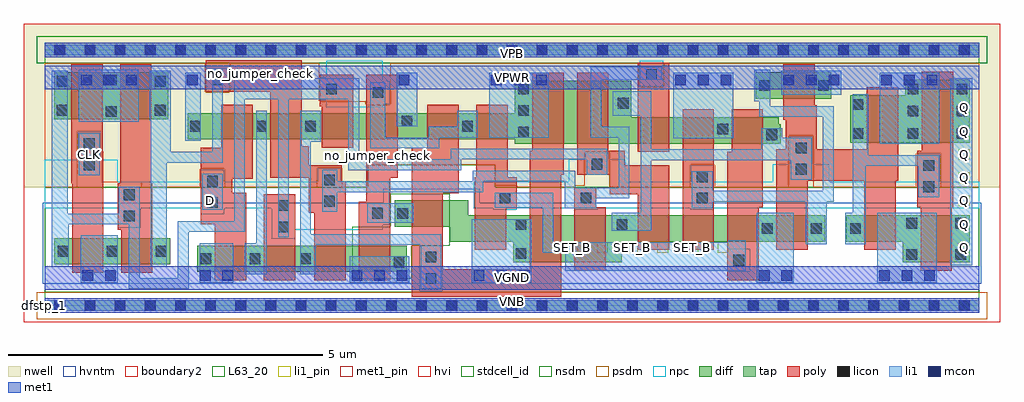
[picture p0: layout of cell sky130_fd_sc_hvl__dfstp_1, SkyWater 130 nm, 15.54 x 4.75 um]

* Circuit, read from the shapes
.subckt sky130_fd_sc_hvl__dfstp_1 CLK D Q SET_B VGND VNB VPB VPWR
XM1 VGND CLK n1 VNB sky130_fd_pr__nfet_g5v0d10v5 w=0.42 l=0.5
XM2 n2 n1 VGND VNB sky130_fd_pr__nfet_g5v0d10v5 w=0.42 l=0.5
XM3 n3 D VGND VNB sky130_fd_pr__nfet_g5v0d10v5 w=0.42 l=0.5
XM4 n4 n1 n3 VNB sky130_fd_pr__nfet_g5v0d10v5 w=0.42 l=0.5
XM5 n5 n2 n4 VNB sky130_fd_pr__nfet_g5v0d10v5 w=0.42 l=0.5
XM6 VGND n6 n5 VNB sky130_fd_pr__nfet_g5v0d10v5 w=0.42 l=0.5
XM7 n7 n4 n6 VNB sky130_fd_pr__nfet_g5v0d10v5 w=0.42 l=0.5
XM8 VGND SET_B n7 VNB sky130_fd_pr__nfet_g5v0d10v5 w=0.42 l=0.5
XM9 n8 n4 VGND VNB sky130_fd_pr__nfet_g5v0d10v5 w=0.75 l=0.5
XM10 n9 n2 n8 VNB sky130_fd_pr__nfet_g5v0d10v5 w=0.75 l=0.5
XM11 n10 n1 n9 VNB sky130_fd_pr__nfet_g5v0d10v5 w=0.42 l=0.5
XM12 n11 n12 n10 VNB sky130_fd_pr__nfet_g5v0d10v5 w=0.42 l=0.5
XM13 VGND SET_B n11 VNB sky130_fd_pr__nfet_g5v0d10v5 w=0.42 l=0.5
XM14 n12 n9 VGND VNB sky130_fd_pr__nfet_g5v0d10v5 w=0.42 l=0.5
XM15 VGND n9 n13 VNB sky130_fd_pr__nfet_g5v0d10v5 w=0.42 l=0.5
XM16 Q n13 VGND VNB sky130_fd_pr__nfet_g5v0d10v5 w=0.75 l=0.5
XM17 VPWR CLK n1 VPB sky130_fd_pr__pfet_g5v0d10v5 w=0.75 l=0.5
XM18 n2 n1 VPWR VPB sky130_fd_pr__pfet_g5v0d10v5 w=0.75 l=0.5
XM19 n3 D VPWR VPB sky130_fd_pr__pfet_g5v0d10v5 w=0.42 l=0.5
XM20 n4 n2 n3 VPB sky130_fd_pr__pfet_g5v0d10v5 w=0.42 l=0.5
XM21 n14 n1 n4 VPB sky130_fd_pr__pfet_g5v0d10v5 w=0.42 l=0.5
XM22 VPWR n6 n14 VPB sky130_fd_pr__pfet_g5v0d10v5 w=0.42 l=0.5
XM23 n6 n4 VPWR VPB sky130_fd_pr__pfet_g5v0d10v5 w=0.42 l=0.5
XM24 VPWR SET_B n6 VPB sky130_fd_pr__pfet_g5v0d10v5 w=0.42 l=0.5
XM25 n15 n4 VPWR VPB sky130_fd_pr__pfet_g5v0d10v5 w=1 l=0.5
XM26 n9 n1 n15 VPB sky130_fd_pr__pfet_g5v0d10v5 w=1 l=0.5
XM27 n16 n2 n9 VPB sky130_fd_pr__pfet_g5v0d10v5 w=0.42 l=0.5
XM28 VPWR n12 n16 VPB sky130_fd_pr__pfet_g5v0d10v5 w=0.42 l=0.5
XM29 n9 SET_B VPWR VPB sky130_fd_pr__pfet_g5v0d10v5 w=0.42 l=0.5
XM30 VPWR n9 n12 VPB sky130_fd_pr__pfet_g5v0d10v5 w=0.42 l=0.5
XM31 VPWR n9 n13 VPB sky130_fd_pr__pfet_g5v0d10v5 w=0.75 l=0.5
XM32 Q n13 VPWR VPB sky130_fd_pr__pfet_g5v0d10v5 w=1 l=0.5
.ends

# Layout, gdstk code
import gdstk
lib = gdstk.Library(unit=1e-6, precision=1e-09)
def R(c, l, rs):  # rectangles x0, y0, x1, y1
    for r in rs: c.add(gdstk.rectangle(r[:2], r[2:], *l))
def A(c, l, x, y, w, h, nx, ny, dx, dy):  # array of equal rectangles
    R(c, l, [(x+i*dx, y+j*dy, x+i*dx+w, y+j*dy+h) for i in range(nx) for j in range(ny)])
def P(c, l, *ps):  # polygons
    for p in ps: c.add(gdstk.Polygon(p, *l))
L63_20 = (63, 20)
nwell = (64, 20)
diff = (65, 20)
tap = (65, 44)
poly = (66, 20)
licon = (66, 44)
li1_pin = (67, 16)
li1 = (67, 20)
mcon = (67, 44)
met1_pin = (68, 16)
met1 = (68, 20)
hvi = (75, 20)
stdcell_id = (81, 4)
nsdm = (93, 44)
psdm = (94, 20)
npc = (95, 20)
hvntm = (125, 20)
boundary2 = (236, 0)

sky130_fd_sc_hvl__dfstp_ = lib.new_cell('sky130_fd_sc_hvl__dfstp_1')
P(sky130_fd_sc_hvl__dfstp_, L63_20, [(6.445,1.78),(5.5,1.78),(5.5,1.255),(4.895,1.255),(4.895,0.43),(5.84,0.43),(5.84,0.955),(6.445,0.955)])
P(sky130_fd_sc_hvl__dfstp_, nwell, [(15.21,4.485),(-0.33,4.485),(-0.33,1.885),(5.145,1.885),(5.145,2.245),(7.17,2.245),(7.17,1.885),(15.21,1.885)])
R(sky130_fd_sc_hvl__dfstp_, diff, [(2.425,0.535,5.765,0.955), (0.15,0.655,2,1.075), (0.155,2.965,1.965,3.715), (11.32,3.295,12.525,3.715)])
P(sky130_fd_sc_hvl__dfstp_, diff, [(11.72,2.885),(11.685,2.885),(11.685,2.995),(9.335,2.995),(9.335,3.575),(7.48,3.575),(7.48,3.065),(2.275,3.065),(2.275,2.645),(7.48,2.645),(7.48,2.575),(11.72,2.575)],
  [(12.43,1.435),(6.74,1.435),(6.74,1.675),(5.575,1.675),(5.575,1.255),(6.45,1.255),(6.45,1.015),(7.46,1.015),(7.46,0.685),(9.185,0.685),(9.185,1.015),(12.43,1.015)],
  [(14.73,3.595),(13.7,3.595),(13.7,3.345),(12.825,3.345),(12.825,2.595),(14.73,2.595)],
  [(14.73,1.435),(12.765,1.435),(12.765,1.015),(13.66,1.015),(13.66,0.685),(14.73,0.685)])
R(sky130_fd_sc_hvl__dfstp_, tap, [(0,-0.085,14.88,0.085), (0,3.985,14.88,4.155)])
R(sky130_fd_sc_hvl__dfstp_, poly, [(3.49,0.405,3.99,1.775), (10.155,0.885,10.655,3.125), (9.445,2.445,9.945,3.865)])
P(sky130_fd_sc_hvl__dfstp_, poly, [(0.935,2.45),(0.92,2.45),(0.92,3.845),(0.42,3.845),(0.42,1.95),(0.435,1.95),(0.435,0.525),(0.935,0.525)],
  [(1.715,1.95),(1.7,1.95),(1.7,3.845),(1.2,3.845),(1.2,1.95),(1.16,1.95),(1.16,1.205),(1.215,1.205),(1.215,0.525),(1.715,0.525)],
  [(3.31,3.195),(2.81,3.195),(2.81,2.515),(2.485,2.515),(2.485,1.295),(2.71,1.295),(2.71,0.405),(3.21,0.405),(3.21,1.795),(2.985,1.795),(2.985,2.015),(3.31,2.015)],
  [(4.79,1.975),(4.73,1.975),(4.73,2.235),(4.2,2.235),(4.2,2.535),(4.09,2.535),(4.09,3.905),(2.565,3.905),(2.565,3.405),(3.59,3.405),(3.59,2.035),(4.2,2.035),(4.2,1.475),(4.29,1.475),(4.29,0.405),(4.79,0.405)],
  [(4.91,3.675),(4.38,3.675),(4.38,3.175),(4.41,3.175),(4.41,2.515),(4.91,2.515)],
  [(5.62,3.675),(5.12,3.675),(5.12,1.655),(5,1.655),(5,0.405),(5.5,0.405),(5.5,2.035),(5.62,2.035)],
  [(7.515,2.045),(7.37,2.045),(7.37,3.195),(6.87,3.195),(6.87,2.045),(6.85,2.045),(6.85,0.885),(7.35,0.885),(7.35,1.545),(7.515,1.545)],
  [(8.265,3.705),(7.765,3.705),(7.765,2.465),(7.725,2.465),(7.725,0.575),(6.34,0.575),(6.34,1.785),(6.59,1.785),(6.59,3.195),(6.09,3.195),(6.09,2.515),(5.84,2.515),(5.84,0.14),(8.225,0.14),(8.225,2.085),(8.265,2.085)],
  [(8.935,1.565),(8.785,1.565),(8.785,1.875),(8.435,1.875),(8.435,0.555),(8.935,0.555)],
  [(9.945,2.235),(9.235,2.235),(9.235,2.465),(8.975,2.465),(8.975,3.705),(8.475,3.705),(8.475,2.085),(8.995,2.085),(8.995,1.775),(9.445,1.775),(9.445,0.885),(9.945,0.885)],
  [(11.435,3.125),(10.935,3.125),(10.935,2.445),(10.865,2.445),(10.865,0.405),(11.365,0.405),(11.365,1.565),(11.435,1.565)],
  [(13.59,3.475),(13.09,3.475),(13.09,2.485),(12.295,2.485),(12.295,3.185),(12.26,3.185),(12.26,3.845),(11.76,3.845),(11.76,2.96),(11.795,2.96),(11.795,2.485),(11.645,2.485),(11.645,0.885),(12.145,0.885),(12.145,1.985),(13.05,1.985),(13.05,0.885),(13.55,0.885),(13.55,1.985),(13.59,1.985)],
  [(14.465,3.725),(13.965,3.725),(13.965,2.465),(13.89,2.465),(13.89,1.565),(13.945,1.565),(13.945,0.555),(14.445,0.555),(14.445,1.565),(14.465,1.565)])
A(sky130_fd_sc_hvl__dfstp_, licon, 0.155, -0.085, 0.17, 0.17, 31, 2, 0.48, 4.07)
A(sky130_fd_sc_hvl__dfstp_, licon, 0.21, 0.78, 0.17, 0.17, 3, 1, 0.78, 0)
A(sky130_fd_sc_hvl__dfstp_, licon, 13.74, 2.655, 0.17, 0.17, 1, 3, 0, 0.355)
A(sky130_fd_sc_hvl__dfstp_, licon, 14.52, 2.655, 0.17, 0.17, 1, 3, 0, 0.355)
A(sky130_fd_sc_hvl__dfstp_, licon, 7.54, 2.675, 0.17, 0.17, 1, 3, 0, 0.345)
R(sky130_fd_sc_hvl__dfstp_, licon, [(6.065,0.345,6.235,0.515), (5.555,0.605,5.725,0.775), (10.965,0.635,11.135,0.805), (2.485,0.66,2.655,0.83), (3.265,0.66,3.435,0.83), (4.065,0.66,4.235,0.83), (6.065,0.685,6.235,0.855), (13.72,0.725,13.89,0.895), (14.5,0.725,14.67,0.895), (7.5,0.745,7.67,0.915), (11.42,1.14,11.59,1.31), (12.2,1.14,12.37,1.31), (12.825,1.14,12.995,1.31), (3.715,1.165,3.885,1.335), (7.5,1.205,7.67,1.375), (9.105,1.205,9.275,1.375), (13.72,1.225,13.89,1.395), (14.5,1.225,14.67,1.395), (1.26,1.34,1.43,1.51), (5.615,1.38,5.785,1.55), (5.215,1.385,5.385,1.555), (3.715,1.505,3.885,1.675), (2.585,1.555,2.755,1.725), (4.45,1.575,4.62,1.745), (7.245,1.625,7.415,1.795), (8.535,1.625,8.705,1.795), (10.385,1.625,10.555,1.795), (1.26,1.68,1.43,1.85), (13.99,1.805,14.16,1.975), (2.585,1.895,2.755,2.065), (4.45,1.915,4.62,2.085), (10.385,1.965,10.555,2.135), (11.96,2.085,12.13,2.255), (13.99,2.145,14.16,2.315), (0.625,2.155,0.795,2.325), (8.71,2.165,8.88,2.335), (11.96,2.425,12.13,2.595), (0.625,2.495,0.795,2.665), (11.49,2.635,11.66,2.805), (12.865,2.655,13.035,2.825), (10.71,2.725,10.88,2.895), (2.315,2.77,2.485,2.94), (3.365,2.77,3.535,2.94), (4.145,2.77,4.315,2.94), (6.645,2.77,6.815,2.94), (5.685,2.855,5.855,3.025), (0.975,3.005,1.145,3.175), (0.195,3.025,0.365,3.195), (1.755,3.025,1.925,3.195), (12.865,3.115,13.035,3.285), (9.125,3.135,9.295,3.305), (5.22,3.305,5.39,3.475), (4.48,3.365,4.65,3.535), (11.38,3.42,11.55,3.59), (12.315,3.42,12.485,3.59), (0.195,3.485,0.365,3.655), (1.755,3.485,1.925,3.655), (0.975,3.505,1.145,3.675), (2.665,3.505,2.835,3.675), (9.575,3.595,9.745,3.765)])
A(sky130_fd_sc_hvl__dfstp_, li1_pin, 8.315, 0.84, 0.17, 0.17, 6, 1, 0.48, 0)
A(sky130_fd_sc_hvl__dfstp_, li1_pin, 14.555, 0.84, 0.17, 0.17, 1, 7, 0, 0.37)
R(sky130_fd_sc_hvl__dfstp_, li1_pin, [(2.555,1.58,2.725,1.75), (0.635,2.32,0.805,2.49)])
R(sky130_fd_sc_hvl__dfstp_, li1, [(0,-0.085,14.88,0.085), (0.57,0.365,1.16,1.115), (2.47,0.365,3.005,0.995), (4.855,0.365,5.805,0.785), (6.8,0.365,7.75,1.375), (11.34,0.365,11.93,1.475), (13.255,0.365,14.205,1.475), (14.42,0.645,14.77,3.615), (5.135,1.315,5.865,1.625), (2.505,1.525,2.835,2.095), (0.545,2.075,0.875,2.745), (13.295,2.575,14.24,3.705), (2.235,2.625,2.485,3.705), (10.01,2.665,10.96,3.705), (7.075,2.675,8.025,3.705), (5.605,2.855,5.935,3.705), (0.545,2.925,1.495,3.755), (11.73,3.355,12.68,3.735), (0,3.985,14.88,4.155)])
P(sky130_fd_sc_hvl__dfstp_, li1, [(11.16,1.04),(10.885,1.04),(10.885,1.01),(8.1,1.01),(8.1,1.795),(7.165,1.795),(7.165,1.555),(7.93,1.555),(7.93,0.84),(8.285,0.84),(8.285,0.555),(11.16,0.555)],
  [(12.21,2.675),(11.74,2.675),(11.74,2.825),(11.41,2.825),(11.41,2.485),(9.66,2.485),(9.66,3.415),(9.045,3.415),(9.045,3.025),(9.49,3.025),(9.49,1.475),(9.025,1.475),(9.025,1.19),(9.66,1.19),(9.66,2.315),(11.88,2.315),(11.88,2.005),(12.21,2.005)],
  [(12.56,3.175),(11.55,3.175),(11.55,3.755),(11.3,3.755),(11.3,3.255),(11.38,3.255),(11.38,3.005),(12.39,3.005),(12.39,1.825),(10.635,1.825),(10.635,2.135),(10.305,2.135),(10.305,1.545),(10.635,1.545),(10.635,1.655),(12.12,1.655),(12.12,0.975),(12.45,0.975),(12.45,1.655),(12.56,1.655)],
  [(14.24,2.395),(13.115,2.395),(13.115,3.365),(12.865,3.365),(12.865,1.475),(12.745,1.475),(12.745,0.975),(13.075,0.975),(13.075,2.225),(13.91,2.225),(13.91,1.725),(14.24,1.725)],
  [(2.835,3.755),(2.665,3.755),(2.665,2.445),(2.005,2.445),(2.005,3.735),(1.675,3.735),(1.675,2.945),(1.69,2.945),(1.69,0.615),(1.94,0.615),(1.94,2.275),(2.835,2.275)],
  [(3.535,3.105),(3.365,3.105),(3.365,0.995),(3.185,0.995),(3.185,0.495),(3.535,0.495)],
  [(6.315,1.135),(4.235,1.135),(4.235,2.605),(4.395,2.605),(4.395,3.105),(4.065,3.105),(4.065,0.495),(4.315,0.495),(4.315,0.965),(5.985,0.965),(5.985,0.265),(6.315,0.265)],
  [(6.895,3.105),(6.565,3.105),(6.565,2.845),(6.115,2.845),(6.115,2.675),(5.425,2.675),(5.425,3.555),(5.185,3.555),(5.185,2.505),(6.285,2.505),(6.285,2.675),(6.895,2.675)],
  [(8.96,2.495),(6.465,2.495),(6.465,2.325),(5.005,2.325),(5.005,3.615),(3.015,3.615),(3.015,1.345),(2.12,1.345),(2.12,0.435),(1.51,0.435),(1.51,1.895),(1.18,1.895),(1.18,1.465),(0.365,1.465),(0.365,3.735),(0.115,3.735),(0.115,0.615),(0.38,0.615),(0.38,1.295),(1.34,1.295),(1.34,0.265),(2.29,0.265),(2.29,1.175),(3.185,1.175),(3.185,3.285),(3.715,3.285),(3.715,1.085),(3.885,1.085),(3.885,3.285),(4.835,3.285),(4.835,2.155),(6.635,2.155),(6.635,2.325),(8.63,2.325),(8.63,2.085),(8.96,2.085)],
  [(9.825,3.805),(8.695,3.805),(8.695,2.675),(9.14,2.675),(9.14,1.875),(8.45,1.875),(8.45,2.145),(6.815,2.145),(6.815,1.975),(4.655,1.975),(4.655,2.165),(4.415,2.165),(4.415,1.495),(4.655,1.495),(4.655,1.805),(6.985,1.805),(6.985,1.975),(8.28,1.975),(8.28,1.545),(8.785,1.545),(8.785,1.705),(9.31,1.705),(9.31,2.845),(8.865,2.845),(8.865,3.595),(9.825,3.595)])
A(sky130_fd_sc_hvl__dfstp_, mcon, 4.885, 0.395, 0.17, 0.17, 3, 1, 0.36, 0)
A(sky130_fd_sc_hvl__dfstp_, mcon, 6.83, 0.395, 0.17, 0.17, 3, 1, 0.36, 0)
A(sky130_fd_sc_hvl__dfstp_, mcon, 13.285, 0.395, 0.17, 0.17, 3, 1, 0.36, 0)
A(sky130_fd_sc_hvl__dfstp_, mcon, 0.575, 3.505, 0.17, 0.17, 3, 1, 0.36, 0)
A(sky130_fd_sc_hvl__dfstp_, mcon, 7.105, 3.505, 0.17, 0.17, 3, 1, 0.36, 0)
A(sky130_fd_sc_hvl__dfstp_, mcon, 10.04, 3.505, 0.17, 0.17, 3, 1, 0.36, 0)
A(sky130_fd_sc_hvl__dfstp_, mcon, 11.76, 3.505, 0.17, 0.17, 3, 1, 0.36, 0)
A(sky130_fd_sc_hvl__dfstp_, mcon, 13.32, 3.505, 0.17, 0.17, 3, 1, 0.36, 0)
R(sky130_fd_sc_hvl__dfstp_, mcon, [(0.155,-0.085,0.325,0.085), (0.155,-0.085,0.325,0.085), (0.635,-0.085,0.805,0.085), (0.635,-0.085,0.805,0.085), (1.115,-0.085,1.285,0.085), (1.115,-0.085,1.285,0.085), (1.595,-0.085,1.765,0.085), (1.595,-0.085,1.765,0.085), (2.075,-0.085,2.245,0.085), (2.075,-0.085,2.245,0.085), (2.555,-0.085,2.725,0.085), (2.555,-0.085,2.725,0.085), (3.035,-0.085,3.205,0.085), (3.035,-0.085,3.205,0.085), (3.515,-0.085,3.685,0.085), (3.515,-0.085,3.685,0.085), (3.995,-0.085,4.165,0.085), (3.995,-0.085,4.165,0.085), (4.475,-0.085,4.645,0.085), (4.475,-0.085,4.645,0.085), (4.955,-0.085,5.125,0.085), (4.955,-0.085,5.125,0.085), (5.435,-0.085,5.605,0.085), (5.435,-0.085,5.605,0.085), (5.915,-0.085,6.085,0.085), (5.915,-0.085,6.085,0.085), (6.395,-0.085,6.565,0.085), (6.395,-0.085,6.565,0.085), (6.875,-0.085,7.045,0.085), (6.875,-0.085,7.045,0.085), (7.355,-0.085,7.525,0.085), (7.355,-0.085,7.525,0.085), (7.835,-0.085,8.005,0.085), (7.835,-0.085,8.005,0.085), (8.315,-0.085,8.485,0.085), (8.315,-0.085,8.485,0.085), (8.795,-0.085,8.965,0.085), (8.795,-0.085,8.965,0.085), (9.275,-0.085,9.445,0.085), (9.275,-0.085,9.445,0.085), (9.755,-0.085,9.925,0.085), (9.755,-0.085,9.925,0.085), (10.235,-0.085,10.405,0.085), (10.235,-0.085,10.405,0.085), (10.715,-0.085,10.885,0.085), (10.715,-0.085,10.885,0.085), (11.195,-0.085,11.365,0.085), (11.195,-0.085,11.365,0.085), (11.675,-0.085,11.845,0.085), (11.675,-0.085,11.845,0.085), (12.155,-0.085,12.325,0.085), (12.155,-0.085,12.325,0.085), (12.635,-0.085,12.805,0.085), (12.635,-0.085,12.805,0.085), (13.115,-0.085,13.285,0.085), (13.115,-0.085,13.285,0.085), (13.595,-0.085,13.765,0.085), (13.595,-0.085,13.765,0.085), (14.075,-0.085,14.245,0.085), (14.075,-0.085,14.245,0.085), (14.555,-0.085,14.725,0.085), (14.555,-0.085,14.725,0.085), (0.6,0.395,0.77,0.565), (0.96,0.395,1.13,0.565), (2.47,0.395,2.64,0.565), (2.83,0.395,3,0.565), (11.37,0.395,11.54,0.565), (11.73,0.395,11.9,0.565), (2.265,3.505,2.435,3.675), (5.635,3.505,5.805,3.675), (0.155,3.985,0.325,4.155), (0.155,3.985,0.325,4.155), (0.635,3.985,0.805,4.155), (0.635,3.985,0.805,4.155), (1.115,3.985,1.285,4.155), (1.115,3.985,1.285,4.155), (1.595,3.985,1.765,4.155), (1.595,3.985,1.765,4.155), (2.075,3.985,2.245,4.155), (2.075,3.985,2.245,4.155), (2.555,3.985,2.725,4.155), (2.555,3.985,2.725,4.155), (3.035,3.985,3.205,4.155), (3.035,3.985,3.205,4.155), (3.515,3.985,3.685,4.155), (3.515,3.985,3.685,4.155), (3.995,3.985,4.165,4.155), (3.995,3.985,4.165,4.155), (4.475,3.985,4.645,4.155), (4.475,3.985,4.645,4.155), (4.955,3.985,5.125,4.155), (4.955,3.985,5.125,4.155), (5.435,3.985,5.605,4.155), (5.435,3.985,5.605,4.155), (5.915,3.985,6.085,4.155), (5.915,3.985,6.085,4.155), (6.395,3.985,6.565,4.155), (6.395,3.985,6.565,4.155), (6.875,3.985,7.045,4.155), (6.875,3.985,7.045,4.155), (7.355,3.985,7.525,4.155), (7.355,3.985,7.525,4.155), (7.835,3.985,8.005,4.155), (7.835,3.985,8.005,4.155), (8.315,3.985,8.485,4.155), (8.315,3.985,8.485,4.155), (8.795,3.985,8.965,4.155), (8.795,3.985,8.965,4.155), (9.275,3.985,9.445,4.155), (9.275,3.985,9.445,4.155), (9.755,3.985,9.925,4.155), (9.755,3.985,9.925,4.155), (10.235,3.985,10.405,4.155), (10.235,3.985,10.405,4.155), (10.715,3.985,10.885,4.155), (10.715,3.985,10.885,4.155), (11.195,3.985,11.365,4.155), (11.195,3.985,11.365,4.155), (11.675,3.985,11.845,4.155), (11.675,3.985,11.845,4.155), (12.155,3.985,12.325,4.155), (12.155,3.985,12.325,4.155), (12.635,3.985,12.805,4.155), (12.635,3.985,12.805,4.155), (13.115,3.985,13.285,4.155), (13.115,3.985,13.285,4.155), (13.595,3.985,13.765,4.155), (13.595,3.985,13.765,4.155), (14.075,3.985,14.245,4.155), (14.075,3.985,14.245,4.155), (14.555,3.985,14.725,4.155), (14.555,3.985,14.725,4.155)])
R(sky130_fd_sc_hvl__dfstp_, met1_pin, [(0,0,14.88,0.115), (0,0.255,14.88,0.625), (0,3.445,14.88,3.815), (0,3.955,14.88,4.07)])
R(sky130_fd_sc_hvl__dfstp_, met1, [(0,-0.115,14.88,0.115), (0,0.255,14.88,0.625), (0,3.445,14.88,3.815), (0,3.955,14.88,4.185)])
R(sky130_fd_sc_hvl__dfstp_, hvi, [(-0.33,-0.265,15.21,4.485)])
R(sky130_fd_sc_hvl__dfstp_, stdcell_id, [(0,0,14.88,4.07)])
R(sky130_fd_sc_hvl__dfstp_, nsdm, [(-0.13,3.855,15.01,4.285), (0,3.855,14.88,4.07)])
P(sky130_fd_sc_hvl__dfstp_, nsdm, [(14.88,1.885),(7.17,1.885),(7.17,2.245),(5.145,2.245),(5.145,1.885),(0,1.885),(0,0.215),(14.88,0.215)])
R(sky130_fd_sc_hvl__dfstp_, psdm, [(-0.13,-0.215,15.01,0.215)])
P(sky130_fd_sc_hvl__dfstp_, psdm, [(14.88,3.855),(9.855,3.855),(9.855,3.485),(9.465,3.485),(9.465,3.855),(5.5,3.855),(5.5,3.195),(5.11,3.195),(5.11,3.255),(4.37,3.255),(4.37,3.855),(2.945,3.855),(2.945,3.395),(2.555,3.395),(2.555,3.855),(0,3.855),(0,1.885),(0.515,1.885),(0.515,2.775),(0.905,2.775),(0.905,1.96),(1.54,1.96),(1.54,1.885),(2.475,1.885),(2.475,2.175),(2.865,2.175),(2.865,1.885),(4.34,1.885),(4.34,2.195),(4.73,2.195),(4.73,1.885),(5.145,1.885),(5.145,2.245),(7.17,2.245),(7.17,1.905),(7.525,1.905),(7.525,1.885),(8.425,1.885),(8.425,1.905),(8.6,1.905),(8.6,2.445),(8.99,2.445),(8.99,1.885),(10.275,1.885),(10.275,2.245),(10.665,2.245),(10.665,1.885),(11.85,1.885),(11.85,2.705),(12.24,2.705),(12.24,1.885),(13.88,1.885),(13.88,2.425),(14.27,2.425),(14.27,1.885),(14.88,1.885)])
R(sky130_fd_sc_hvl__dfstp_, npc, [(5.965,0.225,6.335,0.955), (10.865,0.535,11.235,0.905), (2.565,3.405,2.935,3.775), (9.475,3.495,9.845,3.895)])
P(sky130_fd_sc_hvl__dfstp_, npc, [(14.88,1.97),(14.26,1.97),(14.26,2.415),(13.89,2.415),(13.89,1.97),(12.495,1.97),(12.495,2.25),(12.23,2.25),(12.23,2.695),(11.86,2.695),(11.86,2.25),(11.595,2.25),(11.595,1.97),(10.655,1.97),(10.655,2.235),(10.285,2.235),(10.285,1.97),(9.245,1.97),(9.245,2.33),(8.98,2.33),(8.98,2.435),(8.61,2.435),(8.61,2.33),(8.345,2.33),(8.345,1.97),(6.83,1.97),(6.83,1.545),(7.145,1.545),(7.145,1.525),(7.515,1.525),(7.515,1.545),(8.435,1.545),(8.435,1.525),(8.805,1.525),(8.805,1.545),(10.285,1.545),(10.285,1.525),(10.655,1.525),(10.655,1.545),(14.88,1.545)],
  [(5.485,1.97),(4.72,1.97),(4.72,2.185),(4.35,2.185),(4.35,1.97),(2.855,1.97),(2.855,2.165),(2.485,2.165),(2.485,1.97),(1.16,1.97),(1.16,2.32),(0.895,2.32),(0.895,2.765),(0.525,2.765),(0.525,2.32),(0,2.32),(0,1.545),(1.16,1.545),(1.16,1.24),(1.53,1.24),(1.53,1.545),(2.485,1.545),(2.485,1.455),(2.855,1.455),(2.855,1.545),(3.615,1.545),(3.615,1.065),(3.985,1.065),(3.985,1.21),(5.38,1.21),(5.38,1.285),(5.485,1.285)],
  [(5.49,3.575),(5.385,3.575),(5.385,3.895),(4.485,3.895),(4.485,3.635),(4.38,3.635),(4.38,3.265),(4.485,3.265),(4.485,3.155),(5.385,3.155),(5.385,3.205),(5.49,3.205)])
P(sky130_fd_sc_hvl__dfstp_, hvntm, [(14.915,1.64),(6.925,1.64),(6.925,1.86),(5.39,1.86),(5.39,1.64),(-0.035,1.64),(-0.035,0.35),(14.915,0.35)])
R(sky130_fd_sc_hvl__dfstp_, boundary2, [(0,0,14.88,4.07)])
sky130_fd_sc_hvl__dfstp_.add(gdstk.Label('no_jumper_check', (5.295,2.385), layer=83, texttype=44))
sky130_fd_sc_hvl__dfstp_.add(gdstk.Label('no_jumper_check', (3.435,3.695), layer=83, texttype=44))
sky130_fd_sc_hvl__dfstp_.add(gdstk.Label('dfstp_1', (0,0), layer=83, texttype=44))
sky130_fd_sc_hvl__dfstp_.add(gdstk.Label('VGND', (7.44,0.44), layer=68, texttype=5))
sky130_fd_sc_hvl__dfstp_.add(gdstk.Label('VNB', (7.44,0.058), layer=68, texttype=5))
sky130_fd_sc_hvl__dfstp_.add(gdstk.Label('VPWR', (7.44,3.63), layer=68, texttype=5))
sky130_fd_sc_hvl__dfstp_.add(gdstk.Label('VPB', (7.44,4.013), layer=68, texttype=5))
sky130_fd_sc_hvl__dfstp_.add(gdstk.Label('SET_B', (8.4,0.925), layer=67, texttype=5))
sky130_fd_sc_hvl__dfstp_.add(gdstk.Label('SET_B', (8.88,0.925), layer=67, texttype=5))
sky130_fd_sc_hvl__dfstp_.add(gdstk.Label('SET_B', (9.36,0.925), layer=67, texttype=5))
sky130_fd_sc_hvl__dfstp_.add(gdstk.Label('SET_B', (9.84,0.925), layer=67, texttype=5))
sky130_fd_sc_hvl__dfstp_.add(gdstk.Label('SET_B', (10.32,0.925), layer=67, texttype=5))
sky130_fd_sc_hvl__dfstp_.add(gdstk.Label('SET_B', (10.8,0.925), layer=67, texttype=5))
sky130_fd_sc_hvl__dfstp_.add(gdstk.Label('D', (2.64,1.665), layer=67, texttype=5))
sky130_fd_sc_hvl__dfstp_.add(gdstk.Label('CLK', (0.72,2.405), layer=67, texttype=5))
sky130_fd_sc_hvl__dfstp_.add(gdstk.Label('Q', (14.64,0.925), layer=67, texttype=5))
sky130_fd_sc_hvl__dfstp_.add(gdstk.Label('Q', (14.64,1.295), layer=67, texttype=5))
sky130_fd_sc_hvl__dfstp_.add(gdstk.Label('Q', (14.64,1.665), layer=67, texttype=5))
sky130_fd_sc_hvl__dfstp_.add(gdstk.Label('Q', (14.64,2.035), layer=67, texttype=5))
sky130_fd_sc_hvl__dfstp_.add(gdstk.Label('Q', (14.64,2.405), layer=67, texttype=5))
sky130_fd_sc_hvl__dfstp_.add(gdstk.Label('Q', (14.64,2.775), layer=67, texttype=5))
sky130_fd_sc_hvl__dfstp_.add(gdstk.Label('Q', (14.64,3.145), layer=67, texttype=5))

lib.write_gds('sky130_fd_sc_hvl__dfstp_1.gds')
